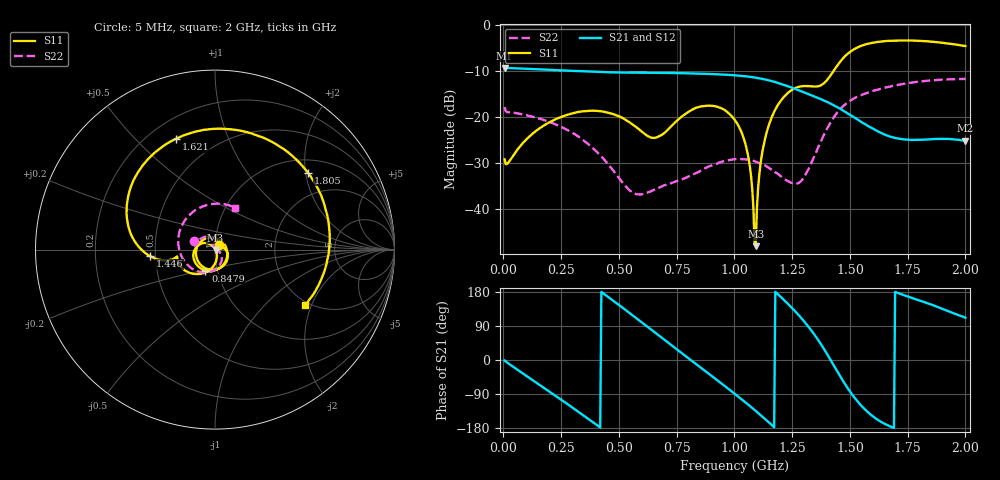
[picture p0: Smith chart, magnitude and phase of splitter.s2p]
! Created with skrf (http://scikit-rf.org).
# Hz S RI R 50.0
!freq ReS11 ImS11 ReS21 ImS21 ReS12 ImS12 ReS22 ImS22
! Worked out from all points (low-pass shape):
!   401 points, 5 MHz to 2 GHz, reference 50 ohm
!   highest |S21| = -9.33 dB at 5 MHz (marker M1); lowest = -25.2 dB at 2 GHz (marker M2)
!   |S21| within 3 dB of the highest: start of sweep to 1.171 GHz
!   lowest |S11| = -48.1 dB at 1.092 GHz (marker M3), VSWR 1.01, Z = 50.4 - j0.164 ohm
!   |S11| at or under -10 dB: start of sweep to 1.429 GHz
!   |S22| runs from -36.9 to -11.7 dB; largest |S21 - S12| = 0.00063
!   S11 on the Smith chart (normalised r, x): 5 MHz: 1.04, +0.06; 847.9 MHz: 0.87, -0.21; 1.446 GHz: 0.47, -0.04; 1.621 GHz: 0.31, +0.66; 1.805 GHz: 1.32, +2.06; 2 GHz: 1.89, -1.80
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5000000  0.0196 0.0283  0.3415 -0.00841  0.3415 -0.00823  -0.1192 0.0461
1.7956e8  0.0712 -0.0405  0.0841 -0.3163  0.0842 -0.3159  -0.0585 0.0706
3.3916e8  -0.0237 -0.1122  -0.2506 -0.1887  -0.2501 -0.1887  -0.00162 0.0574
4.4889e8  -0.1031 -0.0434  -0.3004 0.0613  -0.3004 0.0611  0.00822 0.0305
5.5861e8  -0.059 0.0584  -0.1435 0.2669  -0.1437 0.2668  -0.000502 0.0151
6.7332e8  0.0574 0.0218  0.1298 0.2719  0.1296 0.272  -0.00906 0.0143
8.4789e8  -0.0537 -0.1169  0.2823 -0.0873  0.282 -0.0871  -0.0143 0.0211
1.00749e9  -0.0826 0.0309  -0.0103 -0.283  -0.01 -0.2826  0.00178 0.0348
1.05736e9  -0.0268 0.0294  -0.1233 -0.2459  -0.1229 -0.2461  0.0131 0.0317
1.0823e9  -0.00334 0.00946  -0.1707 -0.2089  -0.1705 -0.209  0.0182 0.0277
1.09228e9  0.00356 -0.00163  -0.187 -0.191  -0.1868 -0.1912  0.02 0.0256
1.11721e9  0.0112 -0.0348  -0.2193 -0.1403  -0.2195 -0.1405  0.0236 0.0197
1.1621e9  -0.0143 -0.0989  -0.2423 -0.0356  -0.2426 -0.0357  0.0254 0.00775
1.27183e9  -0.1819 -0.1048  -0.1067 0.1664  -0.1069 0.1666  0.0173 -0.0076
1.33666e9  -0.2106 -0.0422  0.0441 0.1648  0.0441 0.1648  0.0283 -0.0171
1.44639e9  -0.3634 -0.0357  0.1092 -0.0658  0.1092 -0.0658  -0.000157 -0.1125
1.52619e9  -0.4878 0.2732  -0.0236 -0.0931  -0.0236 -0.0931  -0.1197 -0.1108
1.62095e9  -0.2179 0.6173  -0.0645 -0.0262  -0.0645 -0.0262  -0.1983 -0.0045
1.67083e9  0.00352 0.673  -0.0611 -0.00616  -0.0611 -0.00618  -0.2042 0.0617
1.80549e9  0.5176 0.4288  -0.0516 0.0226  -0.0517 0.0226  -0.1227 0.2103
1.90025e9  0.6395 0.0564  -0.0408 0.0407  -0.0409 0.0408  -0.0124 0.2544
2e9  0.502 -0.3104  -0.0203 0.0511  -0.0203 0.0512  0.1103 0.2342
